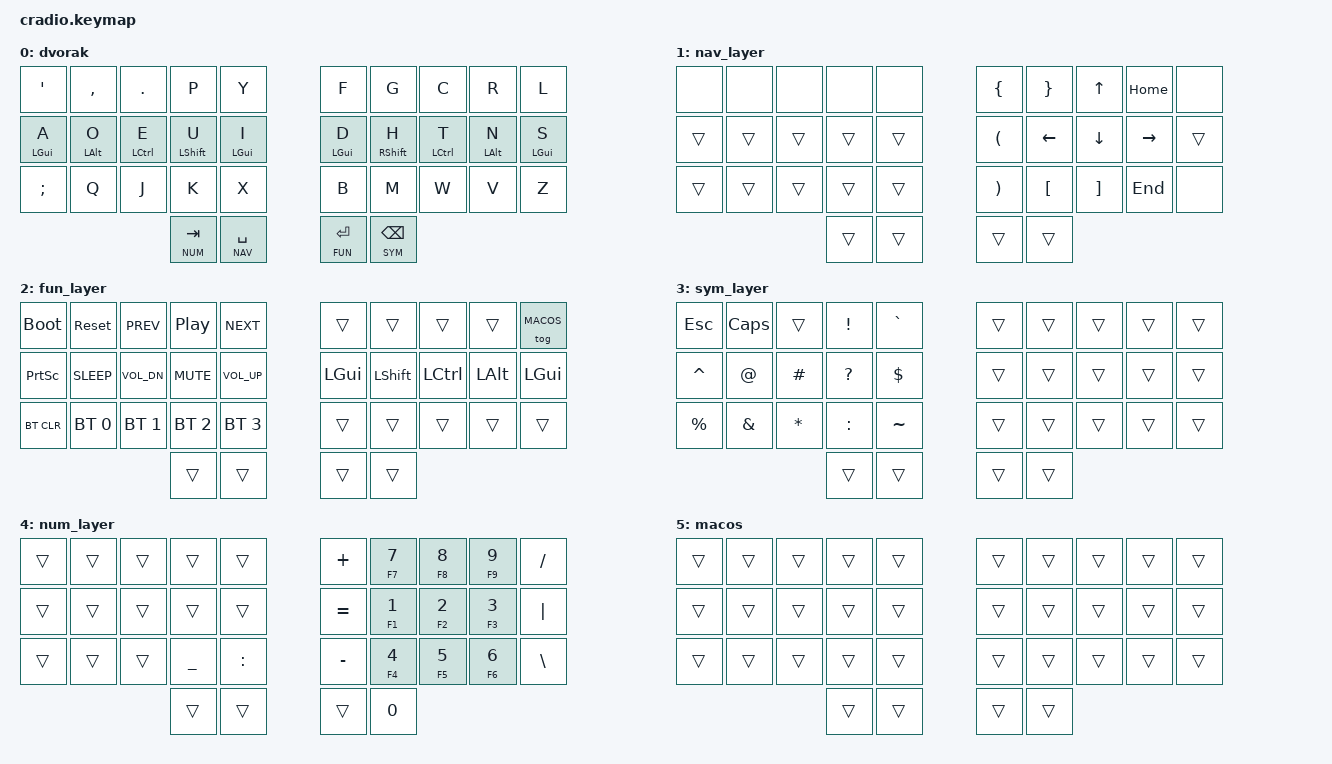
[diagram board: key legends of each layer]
// vim: set nowrap:

#include <behaviors.dtsi>
#include <dt-bindings/zmk/keys.h>
#include <dt-bindings/zmk/bt.h>

#define XXX &none
#define ___ &trans

#define DVORAK 0
#define NAV    1
#define FUN    2
#define SYM    3
#define NUM    4
#define MACOS  5

#define HYPER LG(LA(LS(LCTRL)))

// All combos share these defaults. Require a prior idle so fast typing never
// accidentally fires a combo — you must pause briefly before pressing one.
#define COMBO(NAME, BINDINGS, KEYPOS) \
  combo_##NAME { \
    bindings = <BINDINGS>; \
    key-positions = <KEYPOS>; \
    timeout-ms = <40>; \
    require-prior-idle-ms = <150>; \
  };

&mt {
  flavor = "tap-preferred";
  tapping_term_ms = <200>;
};

/ {

    macros {
        // Type "lnx" or "mac" to confirm which OS mode is active.
        mode_lnx: mode_lnx {
            compatible = "zmk,behavior-macro";
            #binding-cells = <0>;
            bindings = <&kp L &kp N &kp X>;
        };
        mode_mac: mode_mac {
            compatible = "zmk,behavior-macro";
            #binding-cells = <0>;
            bindings = <&kp M &kp A &kp C>;
        };
    };

    combos {
        /*                KEY POSITIONS

          ╭────────────────────╮ ╭────────────────────╮
          │  0   1   2   3   4 │ │  5   6   7   8   9 │
          │ 10  11  12  13  14 │ │ 15  16  17  18  19 │
          │ 20  21  22  23  24 │ │ 25  26  27  28  29 │
          ╰───────────╮ 30  31 │ │ 32  33 ╭───────────╯
                      ╰────────╯ ╰────────╯
        */
        compatible = "zmk,combos";

        // ── existing ──────────────────────────────────────────────────────────
        COMBO(caps_word, &caps_word,  20 29)
        COMBO(repeat,    &key_repeat,  4  5)
        COMBO(under,     &kp UNDER,   23 26)
        COMBO(ralt,      &sk RALT,    30 33)
        COMBO(del,       &kp DEL,     28 29)

        // ── dead keys — left-hand column pairs (top row + home row) ───────────
        //   col 1  '  + A  →  grave      (à è ì ò ù)
        //   col 2  ,  + O  →  tilde      (ã õ ñ)
        //   col 3  .  + E  →  acute      (á é í ó ú)
        //   col 4  P  + U  →  diaeresis  (ä ë ï ö ü)
        //   col 5  Y  + I  →  circumflex (â ê ô û)

        combo_dead_grave_lnx {
            bindings = <&kp RA(GRAVE)>;       // AltGr + `
            key-positions = <0 10>;
            timeout-ms = <40>; require-prior-idle-ms = <150>;
            layers = <DVORAK NAV FUN SYM NUM>;
        };
        combo_dead_grave_mac {
            bindings = <&kp LA(GRAVE)>;       // Option + `
            key-positions = <0 10>;
            timeout-ms = <40>; require-prior-idle-ms = <150>;
            layers = <MACOS>;
        };

        combo_dead_tilde_lnx {
            bindings = <&kp LS(RA(GRAVE))>;   // AltGr + Shift + `
            key-positions = <1 11>;
            timeout-ms = <40>; require-prior-idle-ms = <150>;
            layers = <DVORAK NAV FUN SYM NUM>;
        };
        combo_dead_tilde_mac {
            bindings = <&kp LA(N)>;           // Option + N
            key-positions = <1 11>;
            timeout-ms = <40>; require-prior-idle-ms = <150>;
            layers = <MACOS>;
        };

        combo_dead_acute_lnx {
            bindings = <&kp RA(SQT)>;        // AltGr + '
            key-positions = <2 12>;
            timeout-ms = <40>; require-prior-idle-ms = <150>;
            layers = <DVORAK NAV FUN SYM NUM>;
        };
        combo_dead_acute_mac {
            bindings = <&kp LA(E)>;           // Option + E
            key-positions = <2 12>;
            timeout-ms = <40>; require-prior-idle-ms = <150>;
            layers = <MACOS>;
        };

        combo_dead_diaer_lnx {
            bindings = <&kp LS(RA(SQT))>;     // AltGr + Shift + '
            key-positions = <3 13>;
            timeout-ms = <40>; require-prior-idle-ms = <150>;
            layers = <DVORAK NAV FUN SYM NUM>;
        };
        combo_dead_diaer_mac {
            bindings = <&kp LA(U)>;           // Option + U
            key-positions = <3 13>;
            timeout-ms = <40>; require-prior-idle-ms = <150>;
            layers = <MACOS>;
        };

        combo_dead_circ_lnx {
            bindings = <&kp RA(N6)>;          // AltGr + 6
            key-positions = <4 14>;
            timeout-ms = <40>; require-prior-idle-ms = <150>;
            layers = <DVORAK NAV FUN SYM NUM>;
        };
        combo_dead_circ_mac {
            bindings = <&kp LA(I)>;           // Option + I
            key-positions = <4 14>;
            timeout-ms = <40>; require-prior-idle-ms = <150>;
            layers = <MACOS>;
        };

        // ── direct chars ──────────────────────────────────────────────────────
        //   ß  →  R + N  (right ring, top + home)
        //   ç  →  C + T  (right middle, top + home)

        combo_ssharp_lnx {
            bindings = <&kp RA(S)>;           // AltGr + S
            key-positions = <8 18>;
            timeout-ms = <40>; require-prior-idle-ms = <150>;
            layers = <DVORAK NAV FUN SYM NUM>;
        };
        combo_ssharp_mac {
            bindings = <&kp LA(S)>;           // Option + S
            key-positions = <8 18>;
            timeout-ms = <40>; require-prior-idle-ms = <150>;
            layers = <MACOS>;
        };

        combo_cedilla_lnx {
            bindings = <&kp RA(COMMA)>;       // AltGr + ,
            key-positions = <7 17>;
            timeout-ms = <40>; require-prior-idle-ms = <150>;
            layers = <DVORAK NAV FUN SYM NUM>;
        };
        combo_cedilla_mac {
            bindings = <&kp LA(C)>;           // Option + C
            key-positions = <7 17>;
            timeout-ms = <40>; require-prior-idle-ms = <150>;
            layers = <MACOS>;
        };

        // ── OS mode test — F + G + C (three adjacent top-right keys) ─────────
        //   types "lnx" in Linux mode, "mac" in macOS mode

        combo_os_test_lnx {
            bindings = <&mode_lnx>;
            key-positions = <5 6 7>;
            timeout-ms = <60>;
            require-prior-idle-ms = <150>;
            layers = <DVORAK NAV FUN SYM NUM>;
        };
        combo_os_test_mac {
            bindings = <&mode_mac>;
            key-positions = <5 6 7>;
            timeout-ms = <60>;
            require-prior-idle-ms = <150>;
            layers = <MACOS>;
        };
    };

    keymap {
        compatible = "zmk,keymap";

        base_layer {
          label = "dvorak";
          bindings = <
          // ╭─────────────┬─────────────┬─────────────┬─────────────┬─────────────╮   ╭─────────────┬─────────────┬─────────────┬─────────────┬─────────────╮
          // │  ' "        │  ,          │  .          │  P          │  Y          │   │  F          │  G          │  C          │  R          │  L          │
               &kp SQT       &kp COMMA     &kp DOT       &kp P         &kp Y             &kp F         &kp G         &kp C         &kp R         &kp L
          // ├─────────────┼─────────────┼─────────────┼─────────────┼─────────────┤   ├─────────────┼─────────────┼─────────────┼─────────────┼─────────────┤
          // │  A          │  O          │  E          │  U          │  I          │   │  D          │  H          │  T          │  N          │  S          │
               &mt LGUI  A   &mt LALT O    &mt LCTRL E  &mt LSHIFT U   &mt LGUI I        &mt LGUI  D   &mt RSHIFT H  &mt LCTRL T  &mt LALT N    &mt LGUI S
          // ├─────────────┼─────────────┼─────────────┼─────────────┼─────────────┤   ├─────────────┼─────────────┼─────────────┼─────────────┼─────────────┤
          // │  ; :        │  Q          │  J          │  K          │  X          │   │  B          │  M          │  W          │  V          │  Z          │
               &kp SEMI      &kp Q         &kp J         &kp K         &kp X             &kp B         &kp M         &kp W         &kp V         &kp Z
          // ╰─────────────┴─────────────┴─────────────┼─────────────┼─────────────┤   ├─────────────┼─────────────┼─────────────┴─────────────┴─────────────╯
                                                         &lt NUM TAB   &lt NAV SPC       &lt FUN RET   &lt SYM BSPC
          // ╰─────────────┴─────────────╯   ╰─────────────┴─────────────╯
          >;
        };

        nav_layer {
            bindings = <
        // ╭─────────────┬─────────────┬─────────────┬─────────────┬─────────────╮   ╭─────────────┬─────────────┬─────────────┬─────────────┬─────────────╮
        // │             │             │             │             │             │   │ {           │ }           │ UP          │ HOME        │             │
              XXX           XXX          XXX           XXX           XXX               &kp LBRC      &kp RBRC      &kp UP        &kp HOME      XXX
        // ├─────────────┼─────────────┼─────────────┼─────────────┼─────────────┤   ├─────────────┼─────────────┼─────────────┼─────────────┼─────────────┤
        // │             │             │             │             │             │   │ (           │ LEFT        │ DOWN        │ RIGHT       │             │
             ___           ___           ___           ___           ___               &kp LPAR      &kp LEFT      &kp DOWN      &kp RIGHT     ___
        // ├─────────────┼─────────────┼─────────────┼─────────────┼─────────────┤   ├─────────────┼─────────────┼─────────────┼─────────────┼─────────────┤
        // │             │             │             │             │             │   │ )           │ [           │ ]           │ END         │             │
             ___           ___           ___           ___           ___               &kp RPAR      &kp LBKT      &kp RBKT      &kp END       XXX
        // ╰─────────────┴─────────────┴─────────────┼─────────────┼─────────────┤   ├─────────────┼─────────────┼─────────────┴─────────────┴─────────────╯
                                                       ___           ___               ___           ___
        // ╰─────────────┴─────────────╯   ╰─────────────┴─────────────╯
            >;
        };

        fun_layer {
            bindings = <
        // ╭─────────────┬─────────────┬─────────────┬─────────────┬─────────────╮   ╭─────────────┬─────────────┬─────────────┬─────────────┬─────────────╮
        // │ BOOTLOADER  │ SYS RESET   │ PREV        │ PLAY/PAUSE  │ NEXT        │   │             │             │             │             │ MAC TOGGLE  │
             &bootloader   &sys_reset    &kp C_PREV    &kp C_PP      &kp C_NEXT        ___           ___           ___           ___           &tog MACOS
        // ├─────────────┼─────────────┼─────────────┼─────────────┼─────────────┤   ├─────────────┼─────────────┼─────────────┼─────────────┼─────────────┤
             &kp PSCRN     &kp K_SLEEP   &kp K_VOL_DN  &kp K_MUTE    &kp K_VOL_UP      &kp LGUI      &kp LSHIFT    &kp LCTRL     &kp LALT      &kp LGUI
        // ├─────────────┼─────────────┼─────────────┼─────────────┼─────────────┤   ├─────────────┼─────────────┼─────────────┼─────────────┼─────────────┤
             &bt BT_CLR    &bt BT_SEL 0  &bt BT_SEL 1  &bt BT_SEL 2  &bt BT_SEL 3      ___           ___           ___           ___           ___
        // ╰─────────────┴─────────────┴─────────────┼─────────────┼─────────────┤   ├─────────────┼─────────────┼─────────────┴─────────────┴─────────────╯
                                                       ___           ___               ___           ___
        // ╰─────────────┴─────────────╯   ╰─────────────┴─────────────╯
            >;
        };

        sym_layer {
            bindings = <
        // ╭─────────────┬─────────────┬─────────────┬─────────────┬─────────────╮   ╭─────────────┬─────────────┬─────────────┬─────────────┬─────────────╮
        // │ ESC         │ CAPS        │             │ !           │ ` ~         │   │             │             │             │             │             │
             &kp ESC       &kp CAPS      ___           &kp EXCL      &kp GRAVE         ___           ___           ___           ___           ___
        // ├─────────────┼─────────────┼─────────────┼─────────────┼─────────────┤   ├─────────────┼─────────────┼─────────────┼─────────────┼─────────────┤
        // │ ^           │ @           │ #           │ ?           │ $           │   │             │             │             │             │             │
             &kp CARET     &kp AT        &kp HASH      &kp QMARK     &kp DLLR          ___           ___           ___           ___           ___
        // ├─────────────┼─────────────┼─────────────┼─────────────┼─────────────┤   ├─────────────┼─────────────┼─────────────┼─────────────┼─────────────┤
        // │ %           │ &           │ *           │ :           │ ~           │   │             │             │             │             │             │
             &kp PRCNT     &kp AMPS      &kp STAR      &kp COLON     &kp TILDE         ___           ___           ___           ___           ___
        // ╰─────────────┴─────────────┴─────────────┼─────────────┼─────────────┤   ├─────────────┼─────────────┼─────────────┴─────────────┴─────────────╯
                                                       ___           ___               ___           ___
        // ╰─────────────┴─────────────╯   ╰─────────────┴─────────────╯
            >;
        };

        num_layer {
            bindings = <
        // ╭─────────────┬─────────────┬─────────────┬─────────────┬─────────────╮   ╭─────────────┬─────────────┬─────────────┬─────────────┬─────────────╮
        // │             │             │             │             │             │   │ +           │ F7 / 7      │ F8 / 8      │ F9 / 9      │ /           │
             ___           ___           ___           ___           ___               &kp PLUS      &mt F7 N7     &mt F8 N8     &mt F9 N9     &kp SLASH
        // ├─────────────┼─────────────┼─────────────┼─────────────┼─────────────┤   ├─────────────┼─────────────┼─────────────┼─────────────┼─────────────┤
        // │             │             │             │             │             │   │ =           │ F1 / 1      │ F2 / 2      │ F3 / 3      │ |           │
             ___           ___           ___           ___           ___               &kp EQUAL     &mt F1 N1     &mt F2 N2     &mt F3 N3     &kp PIPE
        // ├─────────────┼─────────────┼─────────────┼─────────────┼─────────────┤   ├─────────────┼─────────────┼─────────────┼─────────────┼─────────────┤
        // │             │             │             │ _           │ :           │   │ -           │ F4 / 4      │ F5 / 5      │ F6 / 6      │ \           │
             ___           ___           ___           &kp UNDER     &kp COLON         &kp MINUS     &mt F4 N4     &mt F5 N5     &mt F6 N6     &kp BSLH
        // ╰─────────────┴─────────────┴─────────────┼─────────────┼─────────────┤   ├─────────────┼─────────────┼─────────────┴─────────────┴─────────────╯
                                                       ___           ___               ___           &kp N0
        // ╰─────────────┴─────────────╯   ╰─────────────┴─────────────╯
            >;
        };

        // Persistent flag layer for macOS mode. All keys transparent — it only
        // exists so combos can check which OS context is active via `layers`.
        // Toggle on/off: FUN layer → right pinky top key (L position).
        macos_layer {
            label = "macos";
            bindings = <
        // ╭─────────────┬─────────────┬─────────────┬─────────────┬─────────────╮   ╭─────────────┬─────────────┬─────────────┬─────────────┬─────────────╮
             ___           ___           ___           ___           ___               ___           ___           ___           ___           ___
        // ├─────────────┼─────────────┼─────────────┼─────────────┼─────────────┤   ├─────────────┼─────────────┼─────────────┼─────────────┼─────────────┤
             ___           ___           ___           ___           ___               ___           ___           ___           ___           ___
        // ├─────────────┼─────────────┼─────────────┼─────────────┼─────────────┤   ├─────────────┼─────────────┼─────────────┼─────────────┼─────────────┤
             ___           ___           ___           ___           ___               ___           ___           ___           ___           ___
        // ╰─────────────┴─────────────┴─────────────┼─────────────┼─────────────┤   ├─────────────┼─────────────┼─────────────┴─────────────┴─────────────╯
                                                       ___           ___               ___           ___
        // ╰─────────────┴─────────────╯   ╰─────────────╯
            >;
        };
    };
};
